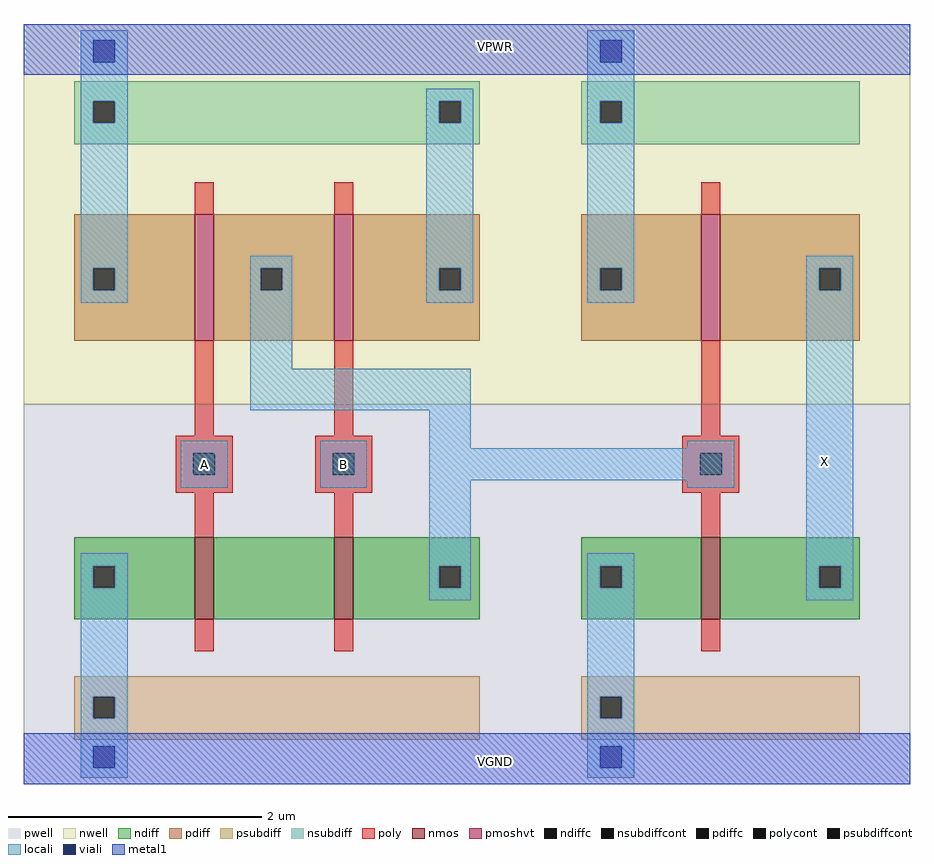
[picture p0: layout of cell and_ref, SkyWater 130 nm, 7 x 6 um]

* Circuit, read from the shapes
.subckt and_ref A B X VGND VPWR
XM1 n1 A VGND VGND sky130_fd_pr__nfet_01v8 w=0.65 l=0.15
XM2 in0/A B n1 VGND sky130_fd_pr__nfet_01v8 w=0.65 l=0.15
XM3 X in0/A VGND VGND sky130_fd_pr__nfet_01v8 w=0.65 l=0.15
XM4 in0/A A VPWR VPWR sky130_fd_pr__pfet_01v8_hvt w=1 l=0.15
XM5 VPWR B in0/A VPWR sky130_fd_pr__pfet_01v8_hvt w=1 l=0.15
XM6 X in0/A VPWR VPWR sky130_fd_pr__pfet_01v8_hvt w=1 l=0.15
.ends

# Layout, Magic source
magic
tech sky130A
<< locali >>
rect 130 240 155 265
rect 240 240 265 265
rect 320 240 561 265
rect 620 242 645 267
<< metal1 >>
rect 0 560 700 600
rect 0 0 700 40
use my_inv  in0 ../mag
transform 1 0 400 0 1 0
box 0 0 300 600
use my_nand2  nd0 ../mag
transform 1 0 0 0 1 0
box 0 0 400 600
<< labels >>
rlabel locali 130 240 155 265 0 A
port 1 nsew
rlabel locali 240 240 265 265 0 B
port 2 nsew
rlabel locali 620 242 645 267 0 X
port 3 nsew
rlabel metal1 360 5 385 30 0 VGND
port 4 nsew
rlabel metal1 360 570 385 595 0 VPWR
port 5 nsew
<< end >>

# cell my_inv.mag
magic
tech sky130A
<< nwell >>
rect 0 300 300 600
<< pwell >>
rect 0 0 300 300
<< nmos >>
rect 135 130 150 195
<< pmoshvt >>
rect 135 350 150 450
<< ndiff >>
rect 40 172 135 195
rect 40 155 55 172
rect 72 155 135 172
rect 40 130 135 155
rect 150 172 260 195
rect 150 155 228 172
rect 245 155 260 172
rect 150 130 260 155
<< pdiff >>
rect 40 407 135 450
rect 40 390 55 407
rect 72 390 135 407
rect 40 350 135 390
rect 150 407 260 450
rect 150 390 228 407
rect 245 390 260 407
rect 150 350 260 390
<< ndiffc >>
rect 55 155 72 172
rect 228 155 245 172
<< pdiffc >>
rect 55 390 72 407
rect 228 390 245 407
<< psubdiff >>
rect 40 69 260 85
rect 40 52 55 69
rect 72 52 260 69
rect 40 35 260 52
<< nsubdiff >>
rect 40 539 260 555
rect 40 522 55 539
rect 72 522 260 539
rect 40 505 260 522
<< psubdiffcont >>
rect 55 52 72 69
<< nsubdiffcont >>
rect 55 522 72 539
<< poly >>
rect 135 450 150 475
rect 135 275 150 350
rect 120 261 165 275
rect 120 244 134 261
rect 151 244 165 261
rect 120 230 165 244
rect 135 195 150 230
rect 135 105 150 130
<< polycont >>
rect 134 244 151 261
<< locali >>
rect 45 587 82 595
rect 45 570 55 587
rect 72 570 82 587
rect 45 539 82 570
rect 45 522 55 539
rect 72 522 82 539
rect 45 407 82 522
rect 45 390 55 407
rect 72 390 82 407
rect 45 380 82 390
rect 218 407 255 417
rect 218 390 228 407
rect 245 390 255 407
rect 124 261 161 271
rect 124 244 134 261
rect 151 244 161 261
rect 124 234 161 244
rect 45 172 82 182
rect 45 155 55 172
rect 72 155 82 172
rect 45 69 82 155
rect 218 172 255 390
rect 218 155 228 172
rect 245 155 255 172
rect 218 145 255 155
rect 45 52 55 69
rect 72 52 82 69
rect 45 30 82 52
rect 45 13 55 30
rect 72 13 82 30
rect 45 5 82 13
<< viali >>
rect 55 570 72 587
rect 55 13 72 30
<< metal1 >>
rect 0 587 300 600
rect 0 570 55 587
rect 72 570 300 587
rect 0 560 300 570
rect 0 30 300 40
rect 0 13 55 30
rect 72 13 300 30
rect 0 0 300 13
<< labels >>
rlabel locali 130 240 155 265 0 A
port 1 nsew
rlabel locali 225 260 250 285 0 Y
port 2 nsew
rlabel metal1 120 570 145 595 0 VPWR
port 3 nsew
rlabel metal1 120 5 145 30 0 VGND
port 4 nsew
<< end >>

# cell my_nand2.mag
magic
tech sky130A
<< nwell >>
rect 0 300 400 600
<< pwell >>
rect 0 0 400 300
<< nmos >>
rect 135 130 150 195
rect 245 130 260 195
<< pmoshvt >>
rect 135 350 150 450
rect 245 350 260 450
<< ndiff >>
rect 40 172 135 195
rect 40 155 55 172
rect 72 155 135 172
rect 40 130 135 155
rect 150 130 245 195
rect 260 172 360 195
rect 260 155 328 172
rect 345 155 360 172
rect 260 130 360 155
<< pdiff >>
rect 40 407 135 450
rect 40 390 55 407
rect 72 390 135 407
rect 40 350 135 390
rect 150 407 245 450
rect 150 390 187 407
rect 204 390 245 407
rect 150 350 245 390
rect 260 407 360 450
rect 260 390 328 407
rect 345 390 360 407
rect 260 350 360 390
<< ndiffc >>
rect 55 155 72 172
rect 328 155 345 172
<< pdiffc >>
rect 55 390 72 407
rect 187 390 204 407
rect 328 390 345 407
<< psubdiff >>
rect 40 69 360 85
rect 40 52 55 69
rect 72 52 360 69
rect 40 35 360 52
<< nsubdiff >>
rect 40 539 360 555
rect 40 522 55 539
rect 72 522 328 539
rect 345 522 360 539
rect 40 505 360 522
<< psubdiffcont >>
rect 55 52 72 69
<< nsubdiffcont >>
rect 55 522 72 539
rect 328 522 345 539
<< poly >>
rect 135 450 150 475
rect 245 450 260 475
rect 135 275 150 350
rect 245 275 260 350
rect 120 261 165 275
rect 120 244 134 261
rect 151 244 165 261
rect 120 230 165 244
rect 230 261 275 275
rect 230 244 244 261
rect 261 244 275 261
rect 230 230 275 244
rect 135 195 150 230
rect 245 195 260 230
rect 135 105 150 130
rect 245 105 260 130
<< polycont >>
rect 134 244 151 261
rect 244 244 261 261
<< locali >>
rect 45 587 82 595
rect 45 570 55 587
rect 72 570 82 587
rect 45 539 82 570
rect 45 522 55 539
rect 72 522 82 539
rect 45 407 82 522
rect 318 539 355 549
rect 318 522 328 539
rect 345 522 355 539
rect 45 390 55 407
rect 72 390 82 407
rect 45 380 82 390
rect 179 407 212 417
rect 179 390 187 407
rect 204 390 212 407
rect 179 328 212 390
rect 318 407 355 522
rect 318 390 328 407
rect 345 390 355 407
rect 318 380 355 390
rect 179 295 353 328
rect 124 261 161 271
rect 124 244 134 261
rect 151 244 161 261
rect 124 234 161 244
rect 234 261 271 271
rect 234 244 244 261
rect 261 244 271 261
rect 234 234 271 244
rect 45 172 82 182
rect 45 155 55 172
rect 72 155 82 172
rect 45 69 82 155
rect 320 172 353 295
rect 320 155 328 172
rect 345 155 353 172
rect 320 145 353 155
rect 45 52 55 69
rect 72 52 82 69
rect 45 30 82 52
rect 45 13 55 30
rect 72 13 82 30
rect 45 5 82 13
<< viali >>
rect 55 570 72 587
rect 55 13 72 30
<< metal1 >>
rect 0 587 400 600
rect 0 570 55 587
rect 72 570 400 587
rect 0 560 400 570
rect 0 30 400 40
rect 0 13 55 30
rect 72 13 400 30
rect 0 0 400 13
<< labels >>
rlabel locali 130 240 155 265 0 A
port 1 nsew
rlabel locali 240 240 265 265 0 B
port 2 nsew
rlabel locali 325 200 348 225 0 Y
port 3 nsew
rlabel metal1 160 570 185 595 0 VPWR
port 4 nsew
rlabel metal1 160 5 185 30 0 VGND
port 5 nsew
<< end >>
